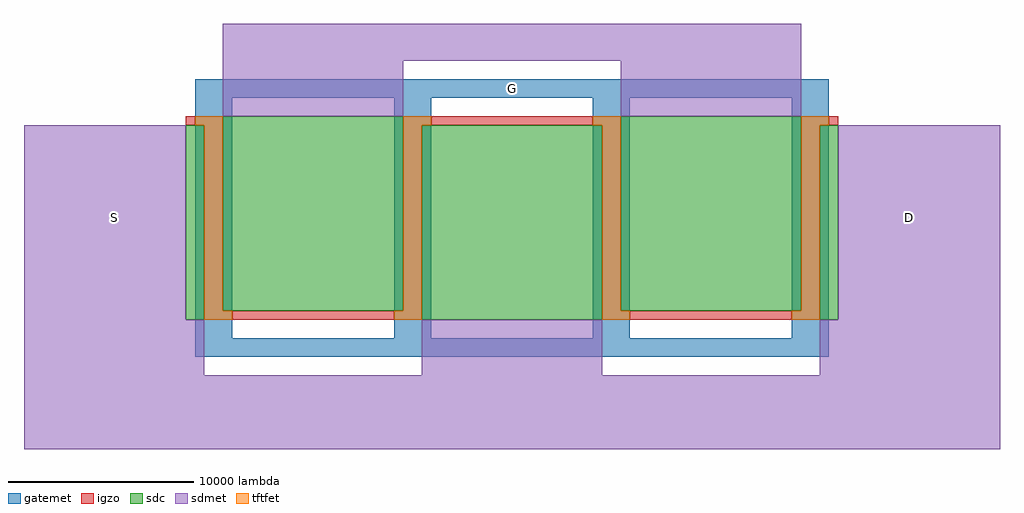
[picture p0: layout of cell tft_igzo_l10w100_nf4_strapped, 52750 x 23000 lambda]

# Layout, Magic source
magic
tech igzo_mmm_lab
<< igzo >>
rect -17625 5000 -17125 5500
rect -4375 5000 4375 5500
rect -15125 -5500 -6375 -5000
rect 17125 5000 17625 5500
rect 6375 -5500 15125 -5000
<< tftfet >>
rect -17125 5000 -15625 5500
rect -16625 -5000 -15625 5000
rect -5875 5000 -4375 5500
rect 4375 5000 5875 5500
rect -5875 -5000 -4875 5000
rect -16625 -5500 -15125 -5000
rect -6375 -5500 -4875 -5000
rect 4875 -5000 5875 5000
rect 15625 5000 17125 5500
rect 15625 -5000 16625 5000
rect 4875 -5500 6375 -5000
rect 15125 -5500 16625 -5000
<< sdc >>
rect -17625 -5500 -16625 5000
rect -15625 -5000 -5875 5500
rect -4875 -5500 4875 5000
rect 5875 -5000 15625 5500
rect 16625 -5500 17625 5000
<< sdmet >>
rect -15625 8500 15625 10500
rect -15625 5500 -5875 8500
rect -26375 -5500 -17625 5000
rect 5875 5500 15625 8500
rect -26375 -8500 -16625 -5500
rect -4875 -8500 4875 -5500
rect 17625 -5500 26375 5000
rect 16625 -8500 26375 -5500
rect -26375 -12500 26375 -8500
<< gatemet >>
rect -17125 6500 17125 7500
rect -17125 -6500 -15125 6500
rect -6375 -6500 -4375 6500
rect 4375 -6500 6375 6500
rect 15125 -6500 17125 6500
rect -17125 -7500 17125 -6500
<< labels >>
rlabel sdmet s -21988 -488 -21012 488 4 S
port 3 nsew
rlabel sdmet s 21012 -488 21988 488 4 D
port 5 nsew
rlabel gatemet s -488 6512 488 7488 4 G
port 7 nsew
<< end >>
